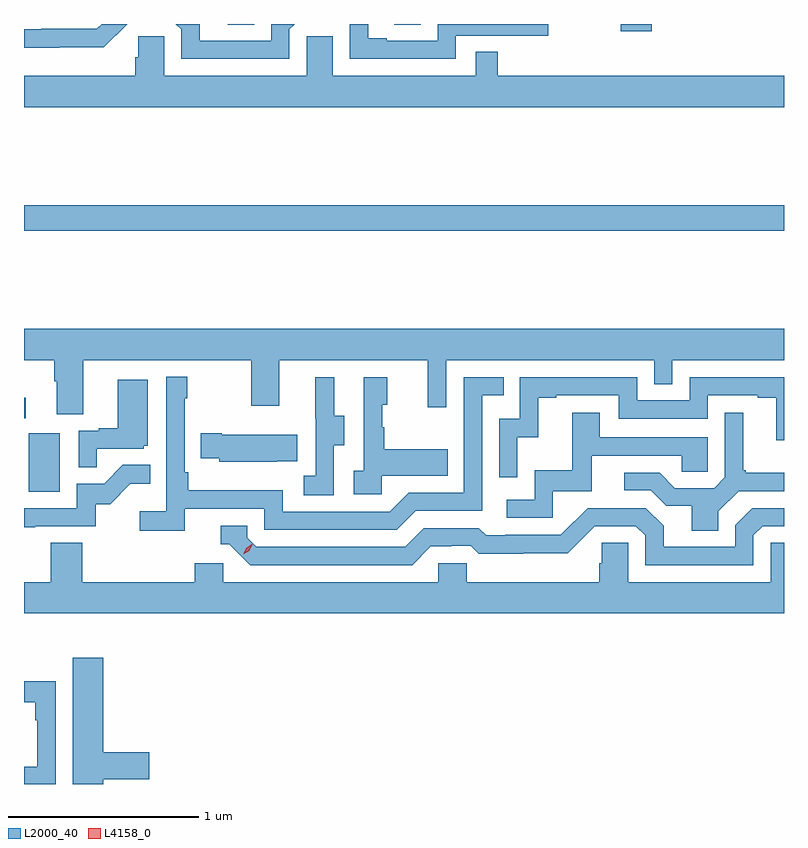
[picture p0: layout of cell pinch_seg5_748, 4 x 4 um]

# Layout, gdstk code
import gdstk
lib = gdstk.Library(unit=1e-6, precision=1e-09)
def R(c, l, rs):  # rectangles x0, y0, x1, y1
    for r in rs: c.add(gdstk.rectangle(r[:2], r[2:], *l))
def P(c, l, *ps):  # polygons
    for p in ps: c.add(gdstk.Polygon(p, *l))
L2000_40 = (2000, 40)
L4158_0 = (4158, 0)

pinch_seg5_748 = lib.new_cell('pinch_seg5_748')
R(pinch_seg5_748, L2000_40, [(867.506,909.348,867.67,909.655), (867.481,909.735,867.49,909.841), (867.481,910.72,871.481,910.856), (870.623,911.772,870.784,911.809), (868.553,911.806,868.693,911.809), (869.429,911.806,869.569,911.809)])
P(pinch_seg5_748, L2000_40, [(869.754,911.748),(870.241,911.748),(870.241,911.809),(869.658,911.809),(869.658,911.721),(869.389,911.721),(869.389,911.734),(869.293,911.734),(869.293,911.809),(869.196,911.809),(869.196,911.625),(869.754,911.625)],
  [(868.878,911.781),(868.906,911.809),(868.782,911.809),(868.782,911.721),(868.405,911.721),(868.405,911.809),(868.28,911.809),(868.308,911.781),(868.308,911.625),(868.878,911.625)],
  [(867.666,911.687),(867.902,911.687),(868.024,911.809),(867.889,911.809),(867.864,911.784),(867.571,911.784),(867.571,911.781),(867.481,911.781),(867.481,911.685),(867.666,911.685)],
  [(871.481,911.536),(869.975,911.536),(869.975,911.663),(869.859,911.663),(869.859,911.536),(869.107,911.536),(869.107,911.744),(868.968,911.744),(868.968,911.536),(868.218,911.536),(868.218,911.744),(868.081,911.744),(868.081,911.634),(868.067,911.634),(868.067,911.536),(867.481,911.536),(867.481,911.372),(871.481,911.372)],
  [(867.793,910.04),(868.678,910.04),(868.678,909.801),(868.825,909.801),(868.825,910.04),(869.606,910.04),(869.606,909.792),(869.703,909.792),(869.703,910.04),(870.798,910.04),(870.798,909.913),(870.894,909.913),(870.894,910.04),(871.481,910.04),(871.481,910.204),(867.481,910.204),(867.481,910.04),(867.641,910.04),(867.641,909.928),(867.653,909.928),(867.653,909.754),(867.793,909.754)],
  [(868.328,909.258),(868.746,909.258),(868.746,909.147),(869.443,909.147),(869.542,909.246),(869.892,909.246),(869.892,909.855),(870.005,909.855),(870.005,909.951),(869.796,909.951),(869.796,909.342),(869.505,909.342),(869.406,909.243),(868.842,909.243),(868.842,909.355),(868.346,909.355),(868.346,909.451),(868.326,909.451),(868.326,909.839),(868.339,909.839),(868.339,909.952),(868.23,909.952),(868.23,909.244),(868.089,909.244),(868.089,909.142),(868.328,909.142)],
  [(870.078,909.635),(870.188,909.635),(870.188,909.843),(870.283,909.843),(870.283,909.855),(870.612,909.855),(870.612,909.732),(871.08,909.732),(871.08,909.855),(871.343,909.855),(871.343,909.843),(871.439,909.843),(871.439,909.617),(871.481,909.617),(871.481,909.951),(870.984,909.951),(870.984,909.828),(870.708,909.828),(870.708,909.951),(870.09,909.951),(870.09,909.732),(869.982,909.732),(869.982,909.423),(870.078,909.423)],
  [(869.112,909.592),(869.167,909.592),(869.167,909.747),(869.113,909.747),(869.113,909.949),(869.015,909.949),(869.015,909.735),(869.016,909.735),(869.016,909.431),(868.953,909.431),(868.953,909.328),(869.112,909.328)],
  [(869.364,909.431),(869.711,909.431),(869.711,909.571),(869.377,909.571),(869.377,909.686),(869.367,909.686),(869.367,909.804),(869.392,909.804),(869.392,909.949),(869.268,909.949),(869.268,909.458),(869.217,909.458),(869.217,909.333),(869.364,909.333)],
  [(867.863,909.573),(868.11,909.573),(868.11,909.588),(868.132,909.588),(868.132,909.937),(867.974,909.937),(867.974,909.682),(867.875,909.682),(867.875,909.669),(867.768,909.669),(867.768,909.475),(867.863,909.475)],
  [(870.264,909.351),(870.469,909.351),(870.469,909.537),(870.943,909.537),(870.943,909.453),(871.08,909.453),(871.08,909.633),(870.511,909.633),(870.511,909.763),(870.367,909.763),(870.367,909.46),(870.168,909.46),(870.168,909.306),(870.021,909.306),(870.021,909.21),(870.264,909.21)],
  [(871.135,909.244),(871.242,909.351),(871.481,909.351),(871.481,909.448),(871.279,909.448),(871.279,909.46),(871.267,909.46),(871.267,909.763),(871.17,909.763),(871.17,909.423),(871.113,909.366),(870.907,909.366),(870.826,909.447),(870.639,909.447),(870.639,909.354),(870.78,909.354),(870.86,909.274),(870.995,909.274),(870.995,909.142),(871.135,909.142)],
  [(868.811,909.509),(868.919,909.509),(868.919,909.646),(868.522,909.646),(868.522,909.654),(868.411,909.654),(868.411,909.524),(868.509,909.524),(868.509,909.506),(868.811,909.506)],
  [(867.539,909.165),(867.858,909.165),(867.858,909.282),(867.934,909.282),(868.041,909.389),(868.145,909.389),(868.145,909.488),(868.001,909.488),(867.903,909.39),(867.759,909.39),(867.759,909.261),(867.481,909.261),(867.481,909.16),(867.539,909.16)],
  [(869.623,909.06),(869.73,909.06),(869.73,909.063),(869.833,909.063),(869.875,909.021),(870.108,909.021),(870.108,909.023),(870.344,909.023),(870.486,909.165),(870.702,909.165),(870.75,909.117),(870.75,908.961),(871.32,908.961),(871.32,909.117),(871.368,909.165),(871.481,909.165),(871.481,909.261),(871.314,909.261),(871.224,909.171),(871.224,909.057),(870.847,909.057),(870.847,909.167),(870.753,909.261),(870.447,909.261),(870.306,909.12),(870.013,909.12),(870.013,909.117),(869.914,909.117),(869.875,909.156),(869.586,909.156),(869.487,909.057),(868.704,909.057),(868.656,909.105),(868.656,909.168),(868.517,909.168),(868.517,909.072),(868.56,909.072),(868.671,908.961),(869.524,908.961)],
  [(871.481,909.08),(871.41,909.08),(871.41,908.872),(870.66,908.872),(870.66,909.08),(870.523,909.08),(870.523,908.97),(870.509,908.97),(870.509,908.872),(869.811,908.872),(869.811,908.97),(869.661,908.97),(869.661,908.872),(868.53,908.872),(868.53,908.97),(868.379,908.97),(868.379,908.872),(867.788,908.872),(867.788,909.08),(867.623,909.08),(867.623,908.872),(867.481,908.872),(867.481,908.708),(871.481,908.708)],
  [(867.898,907.834),(868.141,907.834),(868.141,907.976),(867.898,907.976),(867.898,908.473),(867.737,908.473),(867.737,907.809),(867.898,907.809)],
  [(867.648,908.35),(867.481,908.35),(867.481,908.24),(867.539,908.24),(867.539,908.144),(867.552,908.144),(867.552,907.899),(867.481,907.899),(867.481,907.809),(867.648,907.809)])
P(pinch_seg5_748, L4158_0, [(868.635,909.017),(868.635,909.017),(868.65,909.05),(868.68,909.07),(868.681,909.07),(868.681,909.07),(868.666,909.037),(868.635,909.017)])

lib.write_gds('pinch_seg5_748.gds')
